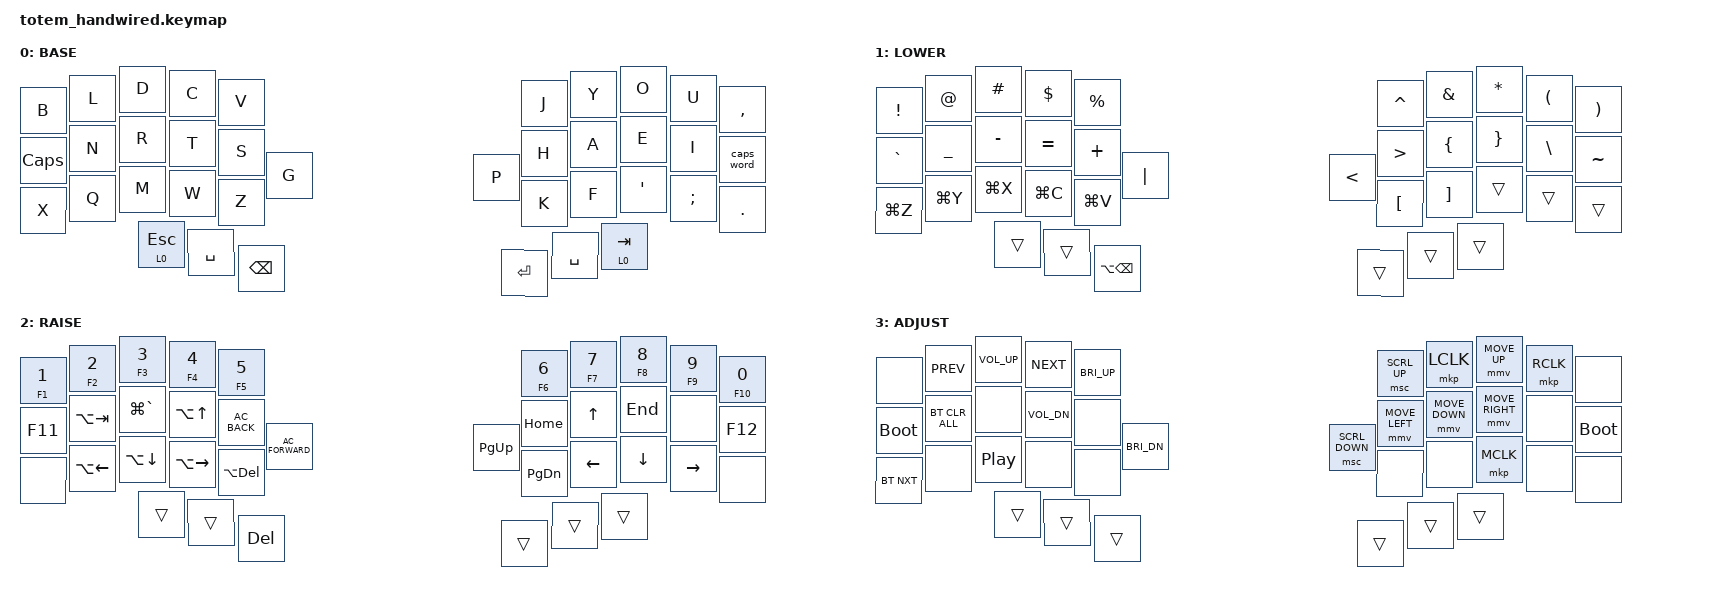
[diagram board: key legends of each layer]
#include <behaviors.dtsi>
#include <dt-bindings/zmk/keys.h>
#include <dt-bindings/zmk/pointing.h>
#include <dt-bindings/zmk/bt.h>

/ {
    /* * 100% Deterministic ZMK Macros 
     * Using explicit press/release sequences to guarantee OS modifier catch.
     */
    macros {
        window_move_l_hold: window_move_l_hold {
            label = "WINDOW_MOVE_L_HOLD";
            compatible = "zmk,behavior-macro";
            #binding-cells = <0>; /* Dummy parameter for Hold-Tap compatibility */
            bindings
                = <&macro_press &kp LSHFT>
                , <&macro_press &kp LGUI>
                , <&macro_press &kp LEFT>
                , <&macro_release &kp LEFT>
                , <&macro_release &kp LGUI>
                , <&macro_release &kp LSHFT>
                ;
        };

        window_move_r_hold: window_move_r_hold {
            label = "WINDOW_MOVE_R_HOLD";
            compatible = "zmk,behavior-macro";
            #binding-cells = <0>;
            bindings
                = <&macro_press &kp LSHFT>
                , <&macro_press &kp LGUI>
                , <&macro_press &kp RIGHT>
                , <&macro_release &kp RIGHT>
                , <&macro_release &kp LGUI>
                , <&macro_release &kp LSHFT>
                ;
        };

        os_nav_l_hold: os_nav_l_hold {
            label = "OS_NAV_L_HOLD";
            compatible = "zmk,behavior-macro";
            #binding-cells = <0>;
            /* Mac uses Ctrl + Left/Right for switching Workspaces/Spaces */
            bindings
                = <&macro_press &kp LCTRL>
                , <&macro_press &kp LEFT>
                , <&macro_release &kp LEFT>
                , <&macro_release &kp LCTRL>
                ;
        };

        os_nav_r_hold: os_nav_r_hold {
            label = "OS_NAV_R_HOLD";
            compatible = "zmk,behavior-macro";
            #binding-cells = <0>;
            bindings
                = <&macro_press &kp LCTRL>
                , <&macro_press &kp RIGHT>
                , <&macro_release &kp RIGHT>
                , <&macro_release &kp LCTRL>
                ;
        };
    };

    behaviors {
        /*
         * Optimized Home Row Mods
         * Prevents accidental modifier triggers during fast typing.
         */
        hm: homerow_mods {
            compatible = "zmk,behavior-hold-tap";
            label = "HOMEROW_MODS";
            #binding-cells = <2>;
            tapping-term-ms = <200>;
            quick-tap-ms = <150>;
            require-prior-idle-ms = <125>;
            flavor = "balanced";
            bindings = <&kp>, <&kp>;
        };

        mhl: macro_hold_left {
            compatible = "zmk,behavior-hold-tap";
            label = "MACRO_HOLD_LEFT";
            #binding-cells = <2>;
            flavor = "tap-preferred";
            tapping-term-ms = <250>;
            bindings = <&window_move_l_hold>, <&kp>;
        };

        mhr: macro_hold_right {
            compatible = "zmk,behavior-hold-tap";
            label = "MACRO_HOLD_RIGHT";
            #binding-cells = <2>;
            flavor = "tap-preferred";
            tapping-term-ms = <250>;
            bindings = <&window_move_r_hold>, <&kp>;
        };

        nhl: nav_hold_left {
            compatible = "zmk,behavior-hold-tap";
            label = "NAV_HOLD_LEFT";
            #binding-cells = <2>;
            flavor = "tap-preferred";
            tapping-term-ms = <250>;
            bindings = <&os_nav_l_hold>, <&kp>;
        };

        nhr: nav_hold_right {
            compatible = "zmk,behavior-hold-tap";
            label = "NAV_HOLD_RIGHT";
            #binding-cells = <2>;
            flavor = "tap-preferred";
            tapping-term-ms = <250>;
            bindings = <&os_nav_r_hold>, <&kp>;
        };
    };

    /* Safe vertical column combos on outer rows for Totem 38 */
    combos {
        compatible = "zmk,combos";
        
        combo_bootloader {
            timeout-ms = <50>;
            key-positions = <0 11>; /* Outer-left vertical pair (B and N) */
            bindings = <&bootloader>;
        };

        combo_sys_reset {
            timeout-ms = <200>;
            key-positions = <9 20>; /* Outer-right vertical pair (COMMA and I) */
            bindings = <&sys_reset>;
        };
    };

    keymap {
        compatible = "zmk,keymap";

        BASE {
            bindings = <
          &kp B  &kp L  &kp D      &kp C      &kp V       &kp J      &kp Y      &kp O      &kp U     &kp COMMA
&kp CAPS  &kp N  &kp R  &kp T      &kp S      &kp G       &kp P      &kp H      &kp A      &kp E     &kp I      &caps_word
          &kp X  &kp Q  &kp M      &kp W      &kp Z       &kp K      &kp F      &kp APOS   &kp SEMI  &kp DOT
                        &lt 0 ESC  &kp SPACE  &kp BSPC    &kp ENTER  &kp SPACE  &lt 0 TAB
            >;
        };

        LOWER {
            bindings = <
           &kp EXCL   &kp AT     &kp HASH   &kp DLLR   &kp PRCNT            &kp CARET         &kp AMPS           &kp STAR  &kp LPAR  &kp RPAR
&kp GRAVE  &kp UNDER  &kp MINUS  &kp EQUAL  &kp PLUS   &kp PIPE             &kp LT            &kp GT             &kp LBRC  &kp RBRC  &kp BACKSLASH &kp TILDE
           &kp LG(Z)  &kp LG(Y)  &kp LG(X)  &kp LG(C)  &kp LG(V)            &kp LEFT_BRACKET  &kp RIGHT_BRACKET  &trans    &trans    &trans
                                 &trans     &trans     &kp LA(BACKSPACE)    &trans            &trans             &trans
            >;
        };

        RAISE {
            bindings = <
         &mt F1 N1    &mt F2 N2      &mt F3 N3     &mt F4 N4      &mt F5 N5           &mt F6 N6      &mt F7 N7 &mt F8 N8 &mt F9 N9  &mt F10 N0
&kp F11  &kp LA(TAB)  &kp LG(GRAVE)  &kp LA(UP)    &kp C_AC_BACK  &kp C_AC_FORWARD    &kp PAGE_UP    &kp HOME  &kp UP    &kp END    &none    &kp F12
         &none        &kp LA(LEFT)   &kp LA(DOWN)  &kp LA(RIGHT)  &kp LA(DEL)         &kp PAGE_DOWN  &kp LEFT  &kp DOWN  &kp RIGHT  &none
                                     &trans        &trans         &kp DEL             &trans         &trans    &trans
            >;
        };

        ADJUST {
            bindings = <
             &none           &kp C_PREV  &kp C_VOLUME_UP   &kp C_NEXT  &kp C_BRI_UP    &msc SCRL_UP    &mkp LCLK       &mmv MOVE_UP    &mkp RCLK        &none
&bootloader  &bt BT_CLR_ALL  &none       &kp C_VOL_DN      &none       &kp C_BRI_DN    &msc SCRL_DOWN  &mmv MOVE_LEFT  &mmv MOVE_DOWN  &mmv MOVE_RIGHT  &none  &bootloader
             &bt BT_NXT      &none       &kp C_PLAY_PAUSE  &none       &none           &none           &none           &mkp MCLK       &none            &none
                                         &trans            &trans      &trans          &trans          &trans          &trans
            >;
        };
    };

    conditional_layers {
        compatible = "zmk,conditional-layers";

        tri_layer {
            if-layers = <1 2>;
            then-layer = <3>;
        };
    };
};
